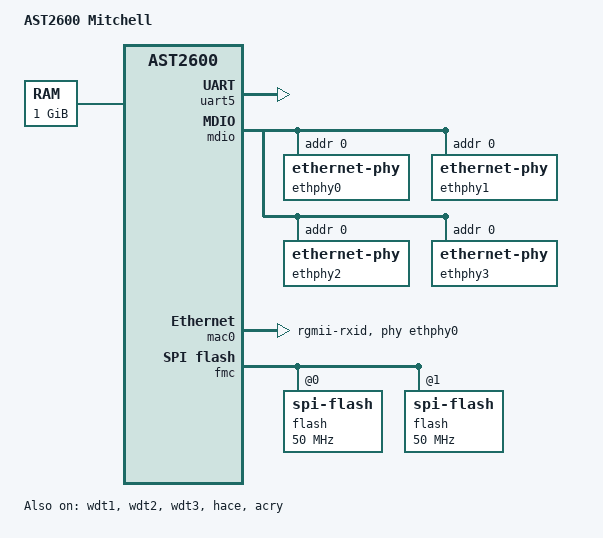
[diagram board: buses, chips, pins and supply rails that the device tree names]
/dts-v1/;

#include "ast2600-u-boot.dtsi"

/ {
        model = "AST2600 Mitchell";
        compatible = "aspeed,ast2600-mitchell", "aspeed,ast2600";

	memory {
		device_type = "memory";
		reg = <0x80000000 0x40000000>;
	};

	chosen {
		stdout-path = &uart5;
	};

	aliases {
		spi0 = &fmc;
		ethernet0 = &mac0;
		ethernet1 = &mac1;
		ethernet2 = &mac2;
		ethernet3 = &mac3;
	};

	cpus {
		cpu@0 {
			clock-frequency = <800000000>;
		};
		cpu@1 {
			clock-frequency = <800000000>;
		};
	};
};

&uart5 {
	u-boot,dm-pre-reloc;
	status = "okay";
};

&sdrammc {
	clock-frequency = <400000000>;
};

&wdt1 {
	status = "okay";
};

&wdt2 {
	status = "okay";
};

&wdt3 {
	status = "okay";
};

&mdio {
	status = "okay";
	pinctrl-names = "default";
	pinctrl-0 = <	&pinctrl_mdio1_default &pinctrl_mdio2_default
			&pinctrl_mdio3_default &pinctrl_mdio4_default>;
	#address-cells = <1>;
	#size-cells = <0>;
	ethphy0: ethernet-phy@0 {
		reg = <0>;
	};

	ethphy1: ethernet-phy@1 {
		reg = <0>;
	};

	ethphy2: ethernet-phy@2 {
		reg = <0>;
	};

	ethphy3: ethernet-phy@3 {
		reg = <0>;
	};
};

&mac0 {
	status = "okay";
	phy-mode = "rgmii-rxid";
	phy-handle = <&ethphy0>;
	pinctrl-names = "default";
	pinctrl-0 = <&pinctrl_rgmii1_default>;
};

&fmc {
	status = "okay";

	pinctrl-names = "default";
	pinctrl-0 = <&pinctrl_fmcquad_default>;

	flash@0 {
		compatible = "spi-flash", "sst,w25q256";
		status = "okay";
		spi-max-frequency = <50000000>;
		spi-tx-bus-width = <4>;
		spi-rx-bus-width = <4>;
	};

	flash@1 {
		compatible = "spi-flash", "sst,w25q256";
		status = "okay";
		spi-max-frequency = <50000000>;
		spi-tx-bus-width = <4>;
		spi-rx-bus-width = <4>;
	};

	flash@2 {
		compatible = "spi-flash", "sst,w25q256";
		status = "disabled";
		spi-max-frequency = <50000000>;
		spi-tx-bus-width = <4>;
		spi-rx-bus-width = <4>;
	};
};

&scu {
	mac0-clk-delay = <0x10 0x0a
			  0x10 0x10
			  0x10 0x10>;
	mac1-clk-delay = <0x10 0x0a
			  0x10 0x10
			  0x10 0x10>;
	mac2-clk-delay = <0x08 0x04
			  0x08 0x04
			  0x08 0x04>;
	mac3-clk-delay = <0x08 0x04
			  0x08 0x04
			  0x08 0x04>;
};

&hace {
	u-boot,dm-pre-reloc;
	status = "okay";
};

&acry {
	u-boot,dm-pre-reloc;
	status = "okay";
};
